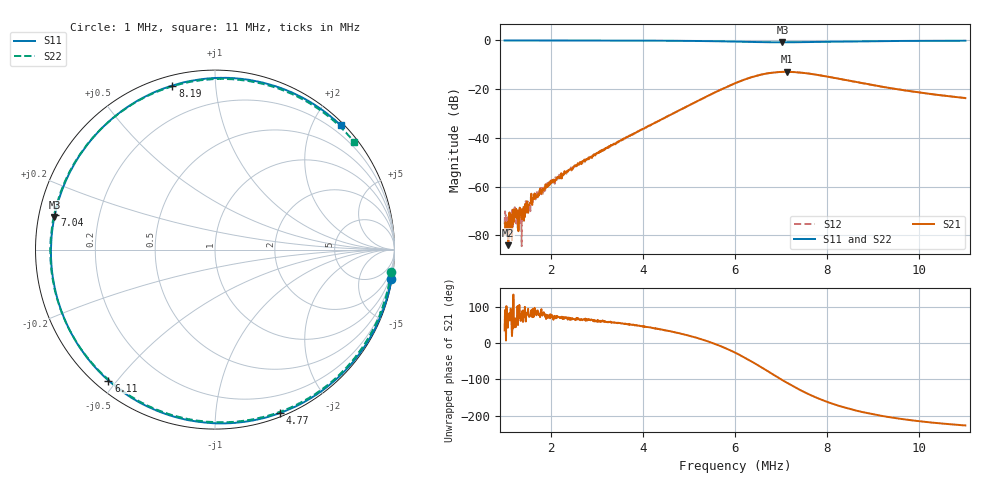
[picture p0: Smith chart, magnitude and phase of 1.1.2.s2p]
# MHz S DB R 50
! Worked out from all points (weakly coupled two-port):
!   1001 points, 1 MHz to 11 MHz, reference 50 ohm
!   highest |S21| = -12.90 dB at 7.12 MHz (marker M1); lowest = -84.1 dB at 1.08 MHz (marker M2)
!   lowest |S11| = -0.8 dB at 7.03 MHz (marker M3), VSWR 22.03, Z = 2.29 + j5.03 ohm
!   |S11| at or under -10 dB: nowhere
!   |S22| runs from -0.8 to -0.1 dB; largest |S21 - S12| = 0.0031
!   S11 on the Smith chart (normalised r, x): 1 MHz: 0, -12; 4.77 MHz: 0.03, -1.48; 6.11 MHz: 0.04, -0.48; 7.04 MHz: 0.05, +0.11; 8.19 MHz: 0.05, +0.77; 11 MHz: 0.05, +2.43
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1  -0.03 -9.5  -79.62 35.3  -75.46 -8.7  -0.11 -7.3
1.08  -0.03 -10.3  -84.15 73.7  -72.29 46.9  -0.11 -7.9
1.24  -0.03 -11.8  -71.20 44.0  -71.66 76.0  -0.11 -9.0
1.33  -0.03 -12.7  -68.66 74.9  -68.61 72.7  -0.11 -9.7
1.43  -0.03 -13.6  -68.15 71.7  -68.29 93.7  -0.11 -10.3
1.52  -0.04 -14.5  -67.50 77.0  -67.90 60.8  -0.11 -11.0
1.63  -0.04 -15.6  -64.93 72.2  -64.41 103.2  -0.11 -11.8
2.01  -0.04 -19.5  -58.60 73.6  -57.65 72.8  -0.11 -14.8
2.67  -0.05 -27.1  -50.77 66.6  -50.20 66.2  -0.11 -20.5
4.34  -0.13 -56.4  -33.09 39.0  -33.06 38.4  -0.15 -43.6
4.77  -0.18 -68.2  -28.87 27.7  -28.88 27.3  -0.18 -53.6
5.48  -0.32 -95.0  -22.12 1.7  -22.14 1.0  -0.28 -78.4
6  -0.49 -122.4  -17.61 -26.1  -17.61 -26.8  -0.44 -107.1
6.11  -0.53 -129.1  -16.76 -33.2  -16.77 -34.0  -0.48 -114.7
6.62  -0.73 -163.1  -13.82 -70.3  -13.83 -71.1  -0.69 -156.4
7.03  -0.79 168.5  -12.92 -102.2  -12.92 -102.9  -0.75 166.4
7.04  -0.79 167.8  -12.91 -103.0  -12.92 -103.8  -0.75 165.5
7.12  -0.78 162.5  -12.90 -108.9  -12.90 -109.7  -0.75 158.5
7.67  -0.66 129.2  -13.80 -145.2  -13.80 -146.0  -0.60 117.6
8.19  -0.50 104.6  -15.52 -170.6  -15.52 -171.4  -0.45 90.9
9.34  -0.26 69.9  -19.47 155.8  -19.48 155.0  -0.26 58.3
11  -0.14 44.7  -23.69 132.7  -23.69 131.8  -0.18 37.6
